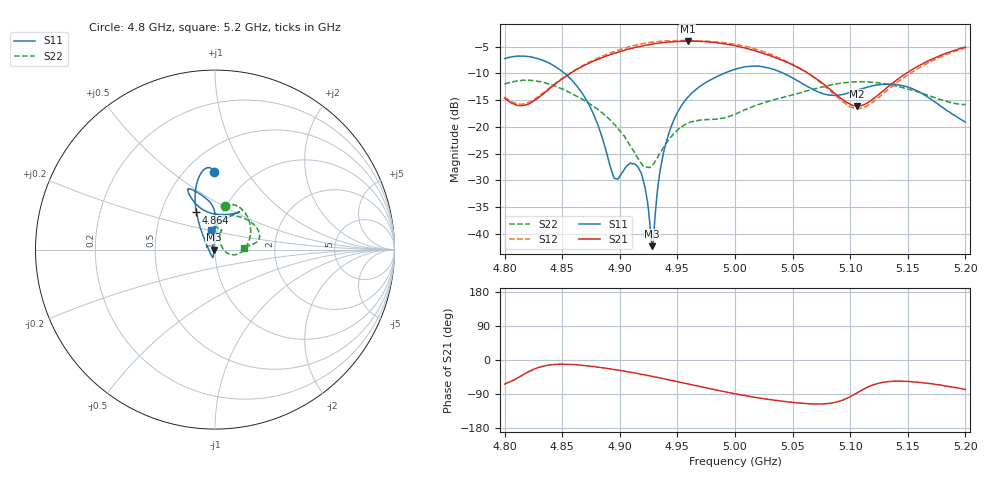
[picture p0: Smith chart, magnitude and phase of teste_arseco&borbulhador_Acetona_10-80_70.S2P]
! Network Analyzer HP8722D
! Hewlett-Packard
! Data name: Linha & Wilkinson
! Saver's name: Rodrigo Anjos
! Comments: Teste da utilização de aquisição
! continua pelo VNA HP8722D
! Time and date: 25/4/2025 15:51
!  Frequency  S11  S21  S12  S22
# HZ  S  MA R 50
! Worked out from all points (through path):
!   401 points, 4.8 GHz to 5.2 GHz, reference 50 ohm
!   highest |S21| = -3.97 dB at 4.959 GHz (marker M1); lowest = -16.1 dB at 5.106 GHz (marker M2)
!   lowest |S11| = -42.3 dB at 4.928 GHz (marker M3), VSWR 1.02, Z = 49.2 - j0.0851 ohm
!   |S11| at or under -10 dB: 4.852 GHz to 4.991 GHz (138.5 MHz wide, 2.81 % of centre); 5.042 GHz to end of sweep
!   |S22| runs from -27.6 to -11.3 dB; largest |S21 - S12| = 1.2
!   S11 on the Smith chart (normalised r, x): 4.8 GHz: 0.68, +0.73; 4.864 GHz: 0.75, +0.33; 5.2 GHz: 0.94, +0.21
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4.8e9  0.4345 90.5  0.1852 -63.6  0.1902 69.9  0.2495 76.7
4.82e9  0.4527 96.8  0.1617 -32.2  0.1678 98.7  0.2733 61.5
4.845e9  0.3593 107.3  0.2558 -11.3  0.2596 119.5  0.238 34.4
4.864e9  0.2313 116.6  0.3506 -12.9  0.3538 121.0  0.1895 11.9
4.867e9  0.2078 118.2  0.3642 -13.9  0.3683 120.5  0.1821 8.4
4.88e9  0.1107 128.7  0.4241 -18.5  0.4336 118.1  0.148 -5.4
4.895e9  0.03325 -173.0  0.4862 -25.1  0.5023 113.7  0.106 -15.8
4.91e9  0.04555 -106.9  0.5412 -32.6  0.5641 106.9  0.06429 -14.2
4.917e9  0.03954 -103.3  0.5621 -36.5  0.5895 103.4  0.04799 -0.9
4.922e9  0.02681 -107.7  0.5765 -39.6  0.604 100.6  0.04223 16.5
4.928e9  0.007664 -173.5  0.5924 -43.0  0.6174 96.9  0.04402 41.7
4.93e9  0.01191 125.2  0.5977 -44.3  0.6206 95.5  0.04623 48.7
4.934e9  0.03271 100.4  0.6053 -46.9  0.6293 93.1  0.05513 59.0
4.944e9  0.09665 90.5  0.6235 -53.2  0.6369 86.8  0.07955 70.1
4.959e9  0.1889 89.5  0.6331 -63.0  0.6395 77.2  0.108 71.7
5e9  0.3451 108.9  0.5728 -89.3  0.5906 50.7  0.1317 88.2
5.03e9  0.3533 115.0  0.4645 -104.2  0.48 33.8  0.174 85.2
5.067e9  0.2258 105.1  0.2996 -115.7  0.2972 23.6  0.2227 57.1
5.106e9  0.22 64.4  0.1566 -86.6  0.1484 56.3  0.2627 24.8
5.134e9  0.2507 57.1  0.2425 -56.7  0.2277 88.8  0.2476 12.3
5.169e9  0.1847 69.7  0.4195 -62.2  0.4036 84.7  0.1947 6.7
5.2e9  0.1105 100.6  0.5566 -77.7  0.5457 70.1  0.1612 3.8
